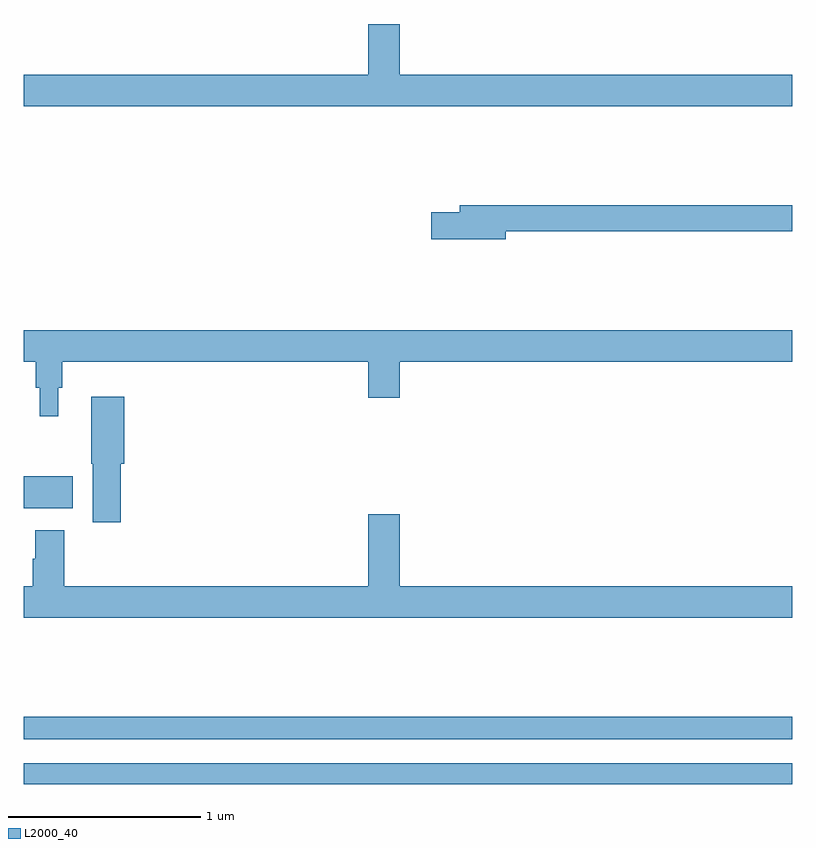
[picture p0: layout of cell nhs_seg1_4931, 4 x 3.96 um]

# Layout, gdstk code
import gdstk
lib = gdstk.Library(unit=1e-6, precision=1e-09)
def R(c, l, rs):  # rectangles x0, y0, x1, y1
    for r in rs: c.add(gdstk.rectangle(r[:2], r[2:], *l))
def P(c, l, *ps):  # polygons
    for p in ps: c.add(gdstk.Polygon(p, *l))
L2000_40 = (2000, 40)

nhs_seg1_4931 = lib.new_cell('nhs_seg1_4931')
R(nhs_seg1_4931, L2000_40, [(379,508.242,383,508.35), (379,508.476,383,508.592), (379,509.678,379.255,509.844)])
P(nhs_seg1_4931, L2000_40, [(383,511.936),(380.956,511.936),(380.956,512.199),(380.792,512.199),(380.792,511.936),(379,511.936),(379,511.772),(383,511.772)],
  [(381.508,511.12),(383,511.12),(383,511.256),(381.269,511.256),(381.269,511.22),(381.12,511.22),(381.12,511.078),(381.508,511.078)],
  [(379.18,510.306),(379.199,510.306),(379.199,510.44),(380.792,510.44),(380.792,510.252),(380.956,510.252),(380.956,510.44),(383,510.44),(383,510.604),(379,510.604),(379,510.44),(379.063,510.44),(379.063,510.306),(379.082,510.306),(379.082,510.156),(379.18,510.156)],
  [(379.505,509.91),(379.523,509.91),(379.523,510.259),(379.352,510.259),(379.352,509.91),(379.358,509.91),(379.358,509.604),(379.505,509.604)],
  [(383,509.272),(380.956,509.272),(380.956,509.647),(380.792,509.647),(380.792,509.272),(379.211,509.272),(379.211,509.563),(379.058,509.563),(379.058,509.414),(379.046,509.414),(379.046,509.272),(379,509.272),(379,509.108),(383,509.108)])

lib.write_gds('nhs_seg1_4931.gds')
